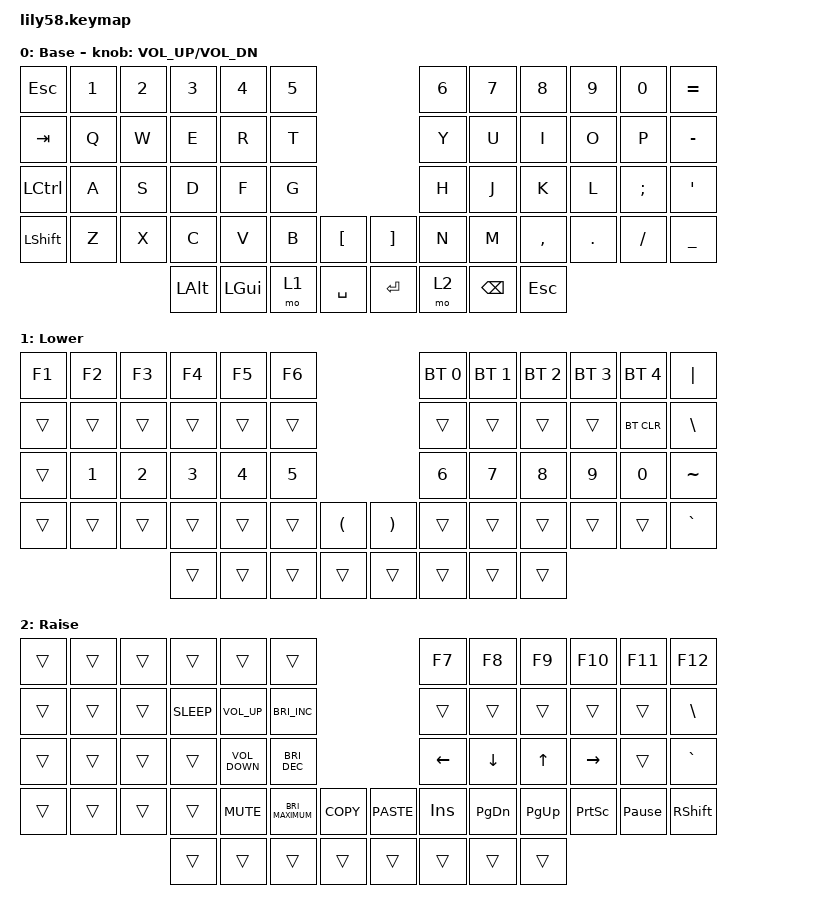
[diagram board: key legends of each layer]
/*
 * Copyright (c) 2020 The ZMK Contributors
 *
 * SPDX-License-Identifier: MIT
 */

#include <behaviors.dtsi>
#include <dt-bindings/zmk/bt.h>
#include <dt-bindings/zmk/keys.h>

/ {
    combos { compatible = "zmk,combos"; };

    keymap {
        compatible = "zmk,keymap";

        default_layer {
            // ------------------------------------------------------------------------------------------------------------
            // |  ESC  |  1  |  2  |  3   |  4   |  5   |                   |  6   |  7    |  8    |  9   |   0   |   `   |
            // |  TAB  |  Q  |  W  |  E   |  R   |  T   |                   |  Y   |  U    |  I    |  O   |   P   |   -   |
            // |  CTRL |  A  |  S  |  D   |  F   |  G   |                   |  H   |  J    |  K    |  L   |   ;   |   '   |
            // | SHIFT |  Z  |  X  |  C   |  V   |  B   |   "["  |  |  "]"  |  N   |  M    |  ,    |  .   |   /   | SHIFT |
            //                     | ALT  | GUI  | LOWER|  SPACE |  | ENTER | RAISE| BSPC  | GUI   |

            display-name = "Base";
            bindings = <
&kp ESCAPE  &kp N1  &kp N2  &kp N3    &kp N4    &kp N5                         &kp N6  &kp N7    &kp N8     &kp N9   &kp N0    &kp EQUAL
&kp TAB     &kp Q   &kp W   &kp E     &kp R     &kp T                          &kp Y   &kp U     &kp I      &kp O    &kp P     &kp MINUS
&kp LCTRL   &kp A   &kp S   &kp D     &kp F     &kp G                          &kp H   &kp J     &kp K      &kp L    &kp SEMI  &kp SQT
&kp LSHFT   &kp Z   &kp X   &kp C     &kp V     &kp B   &kp LBKT     &kp RBKT  &kp N   &kp M     &kp COMMA  &kp DOT  &kp FSLH  &kp UNDER
                            &kp LALT  &kp LGUI  &mo 1   &kp SPACE    &kp RET   &mo 2   &kp BSPC  &kp ESC
            >;

            sensor-bindings = <&inc_dec_kp C_VOL_UP C_VOL_DN>;
        };

        lower_layer {
            // ------------------------------------------------------------------------------------------------------------
            // | BTCLR | BT1 | BT2 |  BT3 |  BT4 |  BT5 |                   |      |       |       |      |       |       |
            // |  F1   |  F2 |  F3 |  F4  |  F5  |  F6  |                   |  F7  |  F8   |  F9   |  F10 |  F11  |  F12  |
            // |   `   |  !  |  @  |  #   |  $   |  %   |                   |  ^   |  &    |  *    |  (   |   )   |   ~   |
            // |       |     |     |      |      |      |        |  |       |      |  _    |  +    |  {   |   }   |  "|"  |
            //                     |      |      |      |        |  |       |      |       |       |

            display-name = "Lower";
            bindings = <
&kp F1  &kp F2  &kp F3  &kp F4  &kp F5  &kp F6                                                 &bt BT_SEL 0  &bt BT_SEL 1  &bt BT_SEL 2  &bt BT_SEL 3  &bt BT_SEL 4  &kp PIPE
&trans  &trans  &trans  &trans  &trans  &trans                                                 &trans        &trans        &trans        &trans        &bt BT_CLR    &kp BACKSLASH
&trans  &kp N1  &kp N2  &kp N3  &kp N4  &kp N5                                                 &kp N6        &kp N7        &kp N8        &kp N9        &kp N0        &kp TILDE
&trans  &trans  &trans  &trans  &trans  &trans  &kp LEFT_PARENTHESIS    &kp RIGHT_PARENTHESIS  &trans        &trans        &trans        &trans        &trans        &kp GRAVE
                        &trans  &trans  &trans  &trans                  &trans                 &trans        &trans        &trans
            >;
        };

        raise_layer {
            // ------------------------------------------------------------------------------------------------------------
            // |       |     |     |      |      |      |                   |      |       |       |      |       |       |
            // |   `   |  1  |  2  |  3   |  4   |  5   |                   |  6   |   7   |   8   |  9   |   0   |       |
            // |   F1  |  F2 |  F3 |  F4  |  F5  |  F6  |                   |      |   <-  |   v   |  ^   |  ->   |       |
            // |   F7  |  F8 |  F9 |  F10 |  F11 |  F12 |        |  |       |  +   |   -   |   =   |  [   |   ]   |   \   |
            //                     |      |      |      |        |  |       |      |       |       |

            display-name = "Raise";
            bindings = <
&trans  &trans  &trans  &trans       &trans             &trans                                               &kp F7      &kp F8         &kp F9     &kp F10          &kp F11          &kp F12
&trans  &trans  &trans  &kp C_SLEEP  &kp C_VOLUME_UP    &kp C_BRIGHTNESS_INC                                 &trans      &trans         &trans     &trans           &trans           &kp BACKSLASH
&trans  &trans  &trans  &trans       &kp C_VOLUME_DOWN  &kp C_BRIGHTNESS_DEC                                 &kp LEFT    &kp DOWN       &kp UP     &kp RIGHT        &trans           &kp GRAVE
&trans  &trans  &trans  &trans       &kp K_MUTE         &kp C_BRIGHTNESS_MAXIMUM  &kp K_COPY    &kp K_PASTE  &kp INSERT  &kp PAGE_DOWN  &kp PG_UP  &kp PRINTSCREEN  &kp PAUSE_BREAK  &kp RIGHT_SHIFT
                        &trans       &trans             &trans                    &trans        &trans       &trans      &trans         &trans
            >;
        };

        extra_1 {
            status = "reserved";
        };

        extra_2 {
            status = "reserved";
        };

        extra_3 {
            status = "reserved";
        };
    };
};
